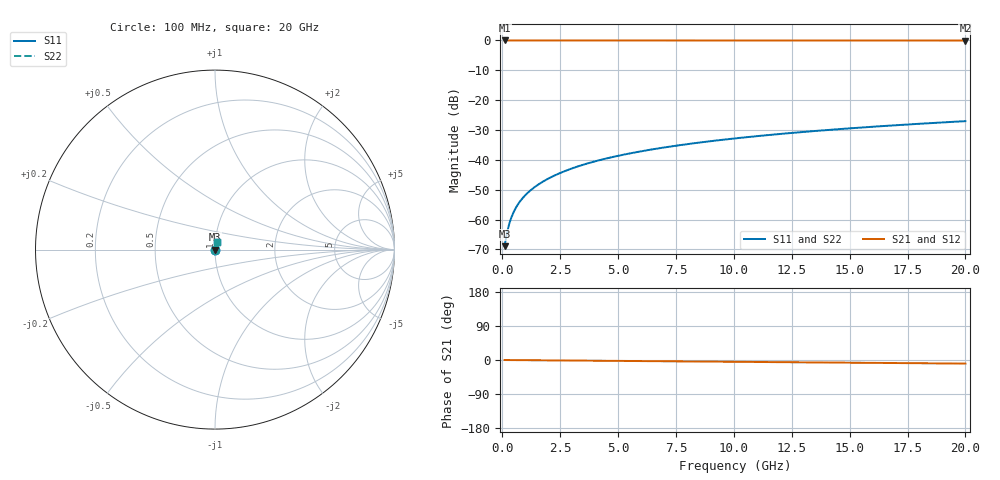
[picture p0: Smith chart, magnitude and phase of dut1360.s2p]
! Touchstone file exported from HFSS 2026.1.0
!  File:  C:/ffzhzh/LocalFiles/Ansys_Project_Files/temp_train_TSV_1360_1783195985_22436.aedt
!  Generated:  04:14:46 AM Jul  5, 2026
!  Design:  TSV
!  Project:  temp_train_TSV_1360_1783195985_22436
! Variables:
!  h_bsmrdl = 2um
!  h_ox = 20um
!  h_rdl = 5um
!  h_sub = 92.01um
!  h_tmrdl = 5um
!  h_tsv = 92.01um
!  h_via = 3um
!  l_bsmrdl = 300um
!  l_sub = 414.58um
!  l_tmrdl = 200um
!  m_sub = 200um
!  pitch = 42.59um
!  r_tsv = 7.29um
!  s_tmrdl = 10um
!  w_bsmrdl = 18um
!  w_sub = 500um
!  w_tmrdl = 12um
!  x_tsv_center1 = 206um
!  x_tsv_center2 = 524um
!  x_tsv_center3 = 736um
!  x_tsv_center4 = 1054um
!  x_tsv_center5 = 1266um
!  x_tsv_center6 = 1584um
# GHz S MA R 50.000000
! Terminal data exported
! Port[1] = TSV1_1_T1
! Port[2] = TSV1_1_T2
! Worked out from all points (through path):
!   200 points, 100 MHz to 20 GHz, reference 50 ohm
!   highest |S21| = 0.00 dB at 100 MHz (marker M1); lowest = 0.0 dB at 20 GHz (marker M2)
!   group delay of S21, straight-line fit = 1.31 ps
!   lowest |S11| = -68.9 dB at 100 MHz (marker M3), VSWR 1.00, Z = 50 + j0.0272 ohm
!   |S11| at or under -10 dB: start of sweep to end of sweep
!   |S22| runs from -68.9 to -27.0 dB; largest |S21 - S12| = 3.1e-15
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0.1  0.000359 49.3  0.9998 -0.1  0.9998 -0.1  0.000359 49.3
! Gamma 0 0 0 0
! Port Impedance 50 0 50 0
0.2  0.0005953 65.6  0.9998 -0.1  0.9998 -0.1  0.0005953 65.6
0.3  0.0008502 71.9  0.9997 -0.1  0.9997 -0.1  0.0008502 71.9
0.4  0.001107 75.0  0.9997 -0.2  0.9997 -0.2  0.001107 75.0
0.5  0.001361 76.7  0.9997 -0.2  0.9997 -0.2  0.001361 76.7
0.6  0.001612 77.8  0.9997 -0.3  0.9997 -0.3  0.001612 77.8
0.7  0.001858 78.5  0.9996 -0.3  0.9996 -0.3  0.001858 78.5
0.8  0.0021 79.1  0.9996 -0.4  0.9996 -0.4  0.0021 79.1
1  0.002577 79.9  0.9996 -0.5  0.9996 -0.5  0.002577 79.9
1.4  0.003509 81.1  0.9995 -0.7  0.9995 -0.7  0.003509 81.1
1.7  0.0042 81.7  0.9994 -0.8  0.9994 -0.8  0.0042 81.7
2  0.004889 82.1  0.9994 -1.0  0.9994 -1.0  0.004889 82.1
2.7  0.00649 82.8  0.9993 -1.3  0.9993 -1.3  0.00649 82.8
3.5  0.008313 83.1  0.9992 -1.7  0.9992 -1.7  0.008313 83.1
4.2  0.009898 83.2  0.9991 -2.0  0.9991 -2.0  0.009898 83.2
5  0.0117 83.2  0.999 -2.4  0.999 -2.4  0.0117 83.2
6.8  0.01572 82.9  0.9988 -3.2  0.9988 -3.2  0.01572 82.9
8.3  0.01904 82.5  0.9986 -3.9  0.9986 -3.9  0.01904 82.5
10.1  0.02301 82.0  0.9984 -4.8  0.9984 -4.8  0.02301 82.0
13.4  0.03024 80.9  0.9981 -6.3  0.9981 -6.3  0.03024 80.9
16.7  0.03741 79.6  0.9977 -7.9  0.9977 -7.9  0.03741 79.6
20  0.04451 78.2  0.9972 -9.4  0.9972 -9.4  0.04451 78.2
